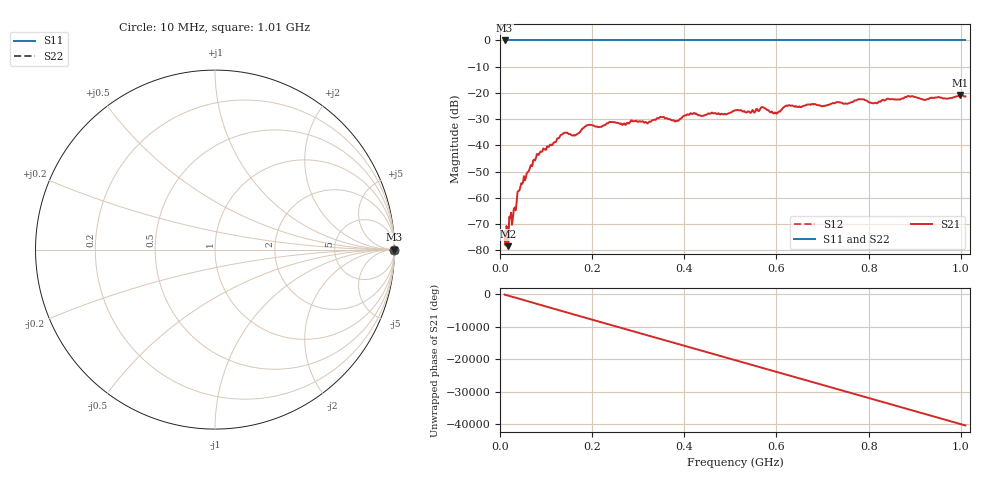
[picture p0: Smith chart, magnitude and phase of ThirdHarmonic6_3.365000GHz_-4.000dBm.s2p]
! 8/17/2025 10:39:23 AM
! C:\ANRITSUVNA\TEMP\TEMP.S2P
! CHANNEL.1
! TR.MEASUREMENT
! RAW.DATA
! RF.CORRECTION.OFF
! AVERAGING.OFF
! IF.BANDWIDTH: 5KHZ
! SWEEPTYPE:  FREQ.SWEEP(Linear)
! Reference Plane Port Info
! PORT:  PORT1  PORT2
! DISTANCE:  0  m  0  m
! TIME:  0  s  0  s
! PHASE.OFFSET:  0  deg.  0  deg.
! LOSS:  0  dB  0  dB
! REF.LOSS:  0  dB  0  dB
! REF.FREQ:  0  Hz  0  Hz
! Power Info
! POWER:  -20  dBm  -20  dBm
! EFF.POWER:  -20  dBm  -20  dBm
! SOURCE.ATTEN:  0  dB  0  dB
! TEST.ATTEN:  0  dB  0  dB
# GHZ S RI R 50.0
! FREQ.GHZ  S11RE  S11IM  S21RE  S21IM  S12RE  S12IM  S22RE  S22IM
!; PortSelection: Port_12
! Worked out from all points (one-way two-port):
!   501 points, 10 MHz to 1.01 GHz, reference 50 ohm
!   highest |S21| = -20.81 dB at 998 MHz (marker M1); lowest = -78.4 dB at 18 MHz (marker M2)
!   lowest |S11| = 0.0 dB at 10 MHz (marker M3)
!   |S11| at or under -10 dB: nowhere
!   |S22| runs from 0.0 to 0.0 dB; largest |S21 - S12| = 1.1
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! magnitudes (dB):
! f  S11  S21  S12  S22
! 10 MHz  0.0  -72.8  0.0  0.0
! 14 MHz  0.0  -70.7  0.0  0.0
! 18 MHz  0.0  -78.4  0.0  0.0
! 30 MHz  0.0  -64.1  0.0  0.0
! 42 MHz  0.0  -57.2  0.0  0.0
! 84 MHz  0.0  -43.6  0.0  0.0
! 136 MHz  0.0  -35.7  0.0  0.0
! 162 MHz  0.0  -36.3  0.0  0.0
! 178 MHz  0.0  -33.7  0.0  0.0
! 192 MHz  0.0  -32.2  0.0  0.0
! 318 MHz  0.0  -31.3  0.0  0.0
! 344 MHz  0.0  -29.7  0.0  0.0
! 384 MHz  0.0  -30.7  0.0  0.0
! 418 MHz  0.0  -28.1  0.0  0.0
! 510 MHz  0.0  -26.6  0.0  0.0
! 570 MHz  0.0  -25.4  0.0  0.0
! 598 MHz  0.0  -27.5  0.0  0.0
! 624 MHz  0.0  -24.9  0.0  0.0
! 678 MHz  0.0  -24.2  0.0  0.0
! 844 MHz  0.0  -22.3  0.0  0.0
! 998 MHz  0.0  -20.8  0.0  0.0
! 1.01 GHz  0.0  -21.3  0.0  0.0
